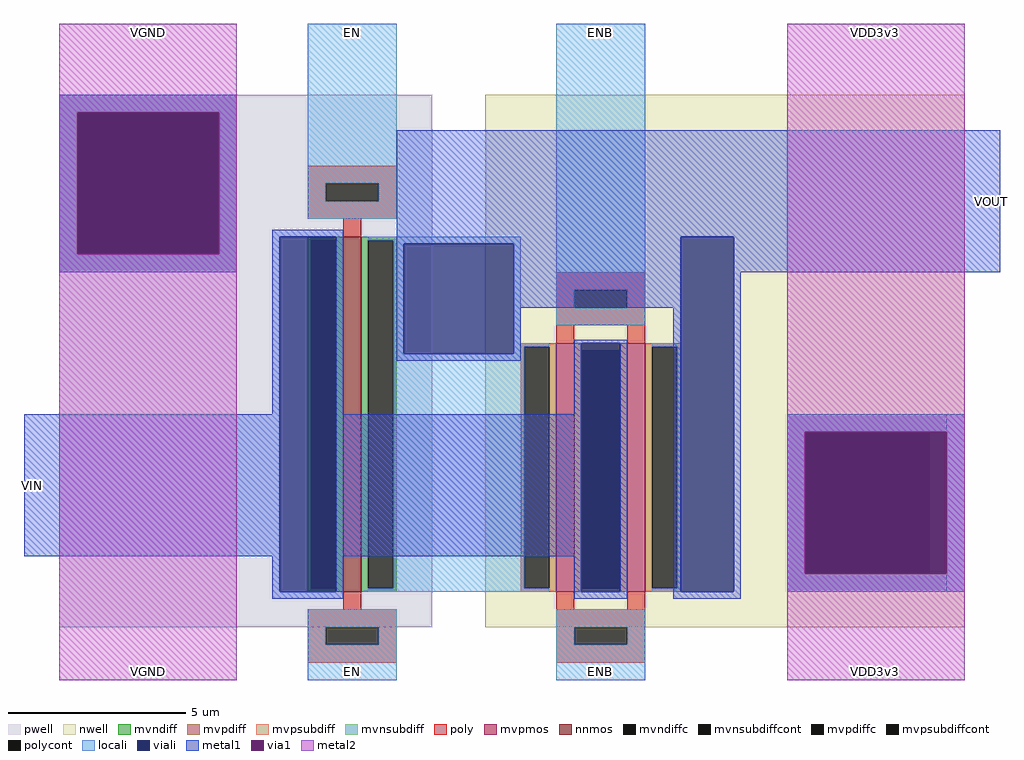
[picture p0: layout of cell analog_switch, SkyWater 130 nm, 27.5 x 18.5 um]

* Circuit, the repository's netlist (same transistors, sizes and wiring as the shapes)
* NGSPICE file created from analog_switch.ext - technology: sky130A

.subckt analog_switch VOUT VIN EN ENB VDD3v3 VGND
X0 VIN ENB VOUT VDD3v3 sky130_fd_pr__pfet_g5v0d10v5 ad=0p pd=0u as=0p ps=0u w=7e+06u l=500000u
X1 VOUT EN VIN VGND sky130_fd_pr__nfet_03v3_nvt ad=0p pd=0u as=0p ps=0u w=1e+07u l=500000u
X2 VOUT ENB VIN VDD3v3 sky130_fd_pr__pfet_g5v0d10v5 ad=0p pd=0u as=0p ps=0u w=7e+06u l=500000u
.ends

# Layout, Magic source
magic
tech sky130A
<< nwell >>
rect 800 -600 2150 900
<< pwell >>
rect -400 -600 650 900
<< nnmos >>
rect 400 -500 450 500
<< mvpmos >>
rect 1000 -500 1050 200
rect 1200 -500 1250 200
<< mvndiff >>
rect 300 490 400 500
rect 300 -490 310 490
rect 380 -490 400 490
rect 300 -500 400 -490
rect 450 490 550 500
rect 450 -490 470 490
rect 540 -490 550 490
rect 450 -500 550 -490
<< mvpdiff >>
rect 900 190 1000 200
rect 900 -490 910 190
rect 980 -490 1000 190
rect 900 -500 1000 -490
rect 1050 180 1200 200
rect 1050 -490 1070 180
rect 1180 -490 1200 180
rect 1050 -500 1200 -490
rect 1250 190 1350 200
rect 1250 -490 1270 190
rect 1340 -490 1350 190
rect 1250 -500 1350 -490
<< mvndiffc >>
rect 310 -490 380 490
rect 470 -490 540 490
<< mvpdiffc >>
rect 910 -490 980 190
rect 1070 -490 1180 180
rect 1270 -490 1340 190
<< mvpsubdiff >>
rect -400 850 100 900
rect -400 450 -350 850
rect 50 450 100 850
rect -400 400 100 450
<< mvnsubdiff >>
rect 1650 -50 2100 0
rect 1650 -450 1700 -50
rect 2050 -450 2100 -50
rect 1650 -500 2100 -450
<< mvpsubdiffcont >>
rect -350 450 50 850
<< mvnsubdiffcont >>
rect 1700 -450 2050 -50
<< poly >>
rect 300 650 550 700
rect 300 600 350 650
rect 500 600 550 650
rect 300 550 550 600
rect 400 500 450 550
rect 1000 350 1250 400
rect 1000 300 1050 350
rect 1200 300 1250 350
rect 1000 250 1250 300
rect 1000 200 1050 250
rect 1200 200 1250 250
rect 400 -550 450 -500
rect 1000 -550 1050 -500
rect 1200 -550 1250 -500
rect 300 -600 550 -550
rect 300 -650 350 -600
rect 500 -650 550 -600
rect 300 -700 550 -650
rect 1000 -600 1250 -550
rect 1000 -650 1050 -600
rect 1200 -650 1250 -600
rect 1000 -700 1250 -650
<< polycont >>
rect 350 600 500 650
rect 1050 300 1200 350
rect 350 -650 500 -600
rect 1050 -650 1200 -600
<< locali >>
rect -400 850 100 900
rect -400 450 -350 850
rect 50 450 100 850
rect 300 650 550 1100
rect 300 600 350 650
rect 500 600 550 650
rect 300 550 550 600
rect -400 400 100 450
rect 470 490 900 500
rect 540 480 900 490
rect 540 170 570 480
rect 880 200 900 480
rect 1000 350 1250 1100
rect 1000 300 1050 350
rect 1200 300 1250 350
rect 1000 250 1250 300
rect 880 190 980 200
rect 880 170 910 190
rect 540 -490 910 170
rect 470 -500 980 -490
rect 1270 190 1350 200
rect 1340 -490 1350 190
rect 1270 -500 1350 -490
rect 1650 -50 2150 0
rect 1650 -450 1700 -50
rect 2100 -450 2150 -50
rect 1650 -500 2150 -450
rect 300 -600 550 -550
rect 300 -650 350 -600
rect 500 -650 550 -600
rect 300 -750 550 -650
rect 1000 -600 1250 -550
rect 1000 -650 1050 -600
rect 1200 -650 1250 -600
rect 1000 -750 1250 -650
<< viali >>
rect -350 450 50 850
rect 220 490 380 500
rect 220 -490 310 490
rect 310 -490 380 490
rect 220 -500 380 -490
rect 570 170 880 480
rect 1070 180 1180 200
rect 1070 -490 1180 180
rect 1070 -500 1180 -490
rect 1350 -500 1500 500
rect 1700 -450 2050 -50
rect 2050 -450 2100 -50
<< metal1 >>
rect -400 850 100 900
rect -400 450 -350 850
rect 50 450 100 850
rect -400 400 100 450
rect 200 500 400 520
rect 200 0 220 500
rect -500 -400 220 0
rect 200 -500 220 -400
rect 380 0 400 500
rect 550 500 2250 800
rect 550 480 1350 500
rect 550 170 570 480
rect 880 300 1350 480
rect 880 170 900 300
rect 550 150 900 170
rect 1050 200 1200 210
rect 1050 0 1070 200
rect 380 -400 1070 0
rect 380 -500 400 -400
rect 200 -520 400 -500
rect 1050 -500 1070 -400
rect 1180 -500 1200 200
rect 1050 -520 1200 -500
rect 1330 -500 1350 300
rect 1500 400 2250 500
rect 1500 -500 1520 400
rect 1650 -50 2150 0
rect 1650 -450 1700 -50
rect 2100 -450 2150 -50
rect 1650 -500 2150 -450
rect 1330 -520 1520 -500
<< via1 >>
rect -350 450 50 850
rect 1700 -450 2100 -50
<< metal2 >>
rect -400 850 100 1100
rect -400 450 -350 850
rect 50 450 100 850
rect -400 -750 100 450
rect 1650 -50 2150 1100
rect 1650 -450 1700 -50
rect 2100 -450 2150 -50
rect 1650 -750 2150 -450
<< labels >>
rlabel metal1 2200 400 2250 800 1 VOUT
port 1 n
rlabel metal1 -500 -400 -450 0 1 VIN
port 2 n
rlabel locali 300 1050 550 1100 1 EN
port 3 n
rlabel locali 1000 1050 1250 1100 1 ENB
port 4 n
rlabel metal2 1650 1050 2150 1100 1 VDD3v3
port 5 n
rlabel metal2 -400 1050 100 1100 1 VGND
port 6 n
rlabel metal2 -400 -750 100 -700 1 VGND
port 6 n
rlabel metal2 1650 -750 2150 -700 1 VDD3v3
port 5 n
rlabel locali 300 -750 550 -700 1 EN
port 3 n
rlabel locali 1000 -750 1250 -700 1 ENB
port 4 n
<< end >>
